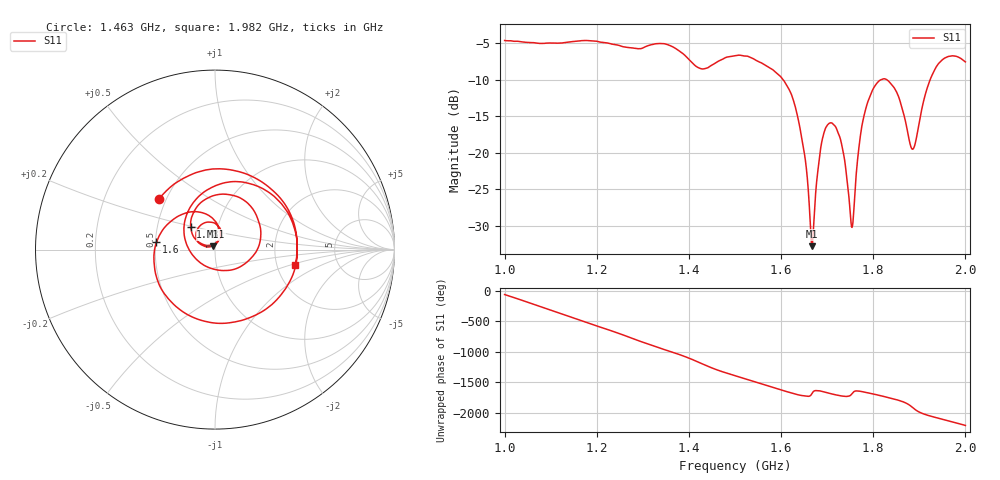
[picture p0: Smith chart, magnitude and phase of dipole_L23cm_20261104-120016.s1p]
! Dipole length 23 cm, measured 20261104-120016
# GHZ S RI R 50.000000000000
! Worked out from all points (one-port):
!   1001 points, 1 GHz to 2 GHz, reference 50 ohm
!   lowest |S11| = -32.8 dB at 1.667 GHz (marker M1), VSWR 1.05, Z = 49 + j2.05 ohm
!   |S11| at or under -10 dB: 1.604 GHz to 1.818 GHz (213.5 MHz wide, 12.5 % of centre); 1.829 GHz to 1.924 GHz (94.61 MHz wide, 5.04 % of centre)
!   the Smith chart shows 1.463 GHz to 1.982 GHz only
!   S11 on the Smith chart (normalised r, x): 1.463 GHz: 0.46, +0.32; 1.6 GHz: 0.51, +0.05; 1.781 GHz: 0.74, +0.19; 1.982 GHz: 2.52, -0.56
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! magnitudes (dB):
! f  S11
! 1 GHz  -4.7
! 1.125 GHz  -5.0
! 1.25 GHz  -5.4
! 1.375 GHz  -5.9
! 1.425 GHz  -8.5
! 1.463 GHz  -7.5
! 1.5 GHz  -6.7
! 1.6 GHz  -9.7
! 1.625 GHz  -12.5
! 1.65 GHz  -19.9
! 1.667 GHz  -32.8
! 1.687 GHz  -19.0
! 1.705 GHz  -16.0
! 1.731 GHz  -18.7
! 1.74 GHz  -22.0
! 1.75 GHz  -28.2
! 1.756 GHz  -29.5
! 1.769 GHz  -19.2
! 1.781 GHz  -14.7
! 1.803 GHz  -10.9
! 1.828 GHz  -10.0
! 1.853 GHz  -12.0
! 1.875 GHz  -17.3
! 1.888 GHz  -19.3
! 1.912 GHz  -12.3
! 1.93 GHz  -9.1
! 1.982 GHz  -6.9
! 2 GHz  -7.6
